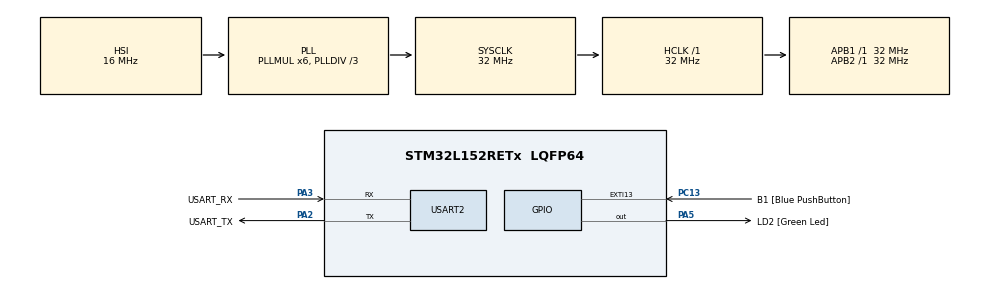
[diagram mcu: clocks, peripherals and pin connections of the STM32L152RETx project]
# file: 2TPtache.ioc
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FREERTOS.Tasks01=defaultTask,0,128,StartDefaultTask,Default,NULL,Dynamic,NULL,NULL
Mcu.Family=STM32L1
Mcu.Name=STM32L152RETx
Mcu.Package=LQFP64
NVIC.PriorityGroup=NVIC_PRIORITYGROUP_4
NVIC.TIM6_IRQn=true\:15\:0\:false\:false\:true\:false\:false\:true\:true
NVIC.TimeBase=TIM6_IRQn
NVIC.TimeBaseIP=TIM6
PA13.GPIO_Label=TMS
PA13.Mode=Serial_Wire
PA13.Signal=SYS_JTMS-SWDIO
PA14.GPIO_Label=TCK
PA14.Mode=Serial_Wire
PA14.Signal=SYS_JTCK-SWCLK
PA2.GPIO_Label=USART_TX
PA2.Mode=Asynchronous
PA2.Signal=USART2_TX
PA3.GPIO_Label=USART_RX
PA3.Mode=Asynchronous
PA3.Signal=USART2_RX
PA5.GPIO_Label=LD2 [Green Led]
PA5.Signal=GPIO_Output
PB3.GPIO_Label=SWO
PB3.Signal=SYS_JTDO-TRACESWO
PC13-WKUP2.GPIO_Label=B1 [Blue PushButton]
PC13-WKUP2.Signal=GPXTI13
PC14-OSC32_IN.Mode=LSE-External-Oscillator
PC14-OSC32_IN.Signal=RCC_OSC32_IN
PC15-OSC32_OUT.Mode=LSE-External-Oscillator
PC15-OSC32_OUT.Signal=RCC_OSC32_OUT
PH0-OSC_IN.Mode=HSE-External-Clock-Source
PH0-OSC_IN.Signal=RCC_OSC_IN
PH1-OSC_OUT.Signal=RCC_OSC_OUT
ProjectManager.HeapSize=0x200
ProjectManager.StackSize=0x400
ProjectManager.TargetToolchain=STM32CubeIDE
RCC.48MHZClocksFreq_Value=48000000
RCC.AHBFreq_Value=32000000
RCC.APB1Freq_Value=32000000
RCC.APB1TimFreq_Value=32000000
RCC.APB2Freq_Value=32000000
RCC.APB2TimFreq_Value=32000000
RCC.HCLKFreq_Value=32000000
RCC.HSE_VALUE=8000000
RCC.HSI_VALUE=16000000
RCC.MSI_VALUE=2097000
RCC.PLLDIV=RCC_PLL_DIV3
RCC.PLLMUL=RCC_PLL_MUL6
RCC.RTCClockSelectionVirtual=RCC_RTCCLKSOURCE_LSE
RCC.SYSCLKFreq_VALUE=32000000
RCC.SYSCLKSource=RCC_SYSCLKSOURCE_PLLCLK
RCC.USBOutput=48000000
RCC.VCOOutputFreq_Value=96000000
USART2.VirtualMode=VM_ASYNC
VP_FREERTOS_VS_CMSIS_V1.Mode=CMSIS_V1
VP_SYS_VS_tim6.Mode=TIM6
board=NUCLEO-L152RE

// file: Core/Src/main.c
/* USER CODE BEGIN Header */
/**
  ******************************************************************************
  * @file           : main.c
  * @brief          : Main program body
  ******************************************************************************
  * @attention
  *
  * <h2><center>&copy; Copyright (c) 2022 STMicroelectronics.
  * All rights reserved.</center></h2>
  *
  * This software component is licensed by ST under BSD 3-Clause license,
  * the "License"; You may not use this file except in compliance with the
  * License. You may obtain a copy of the License at:
  *                        opensource.org/licenses/BSD-3-Clause
  *
  ******************************************************************************
  */
/* USER CODE END Header */
#include "main.h"

/* USER CODE BEGIN Includes */
#include "stdio.h"
#include "freertos.h"
#include "task.h"

/* USER CODE END Includes */

UART_HandleTypeDef huart2;

/* USER CODE BEGIN PV */

TaskHandle_t myTask1Handle = NULL;
TaskHandle_t myTask2Handle = NULL;
uint8_t LED_One = 0;
uint8_t LED_Two = 0;
int compteur = 0;

/* USER CODE END PV */

void SystemClock_Config(void);
static void MX_GPIO_Init(void);
static void MX_USART2_UART_Init(void);

/* USER CODE BEGIN PFP */

void myTask1(void *);
void myTask2(void *);

/* USER CODE END PFP */

/* USER CODE BEGIN 0 */

void myTask1(void *p){
	while(1){
		printf("rentre dans task1 : %d\r\n",compteur++);
		//HAL_Delay(10);
		vTaskDelay(2000);
		LED_One ^=0x1;
	}
}

void myTask2(void *p){
	while(1){
		printf("rentre dans task2 : %d\r\n",compteur++);
		//HAL_Delay(10);
		vTaskDelay(150);
		LED_Two ^=0x1;

	}
}

/* USER CODE END 0 */

int main(void)
{

  /* MCU Configuration--------------------------------------------------------*/

  /* Reset of all peripherals, Initializes the Flash interface and the Systick. */
  HAL_Init();

  /* Configure the system clock */
  SystemClock_Config();

  /* Initialize all configured peripherals */
  MX_GPIO_Init();
  MX_USART2_UART_Init();

  /* Create the thread(s) */
  /* definition and creation of task1 */

  /* USER CODE BEGIN RTOS_THREADS */
  /* add threads, ... */

  xTaskCreate(myTask1, "task1", 200, (void *) NULL, 0, &myTask1Handle);
  xTaskCreate(myTask2, "task2", 200, (void *) NULL, 0, &myTask2Handle);

  /* USER CODE END RTOS_THREADS */

  /* Start scheduler */
  vTaskStartScheduler();

  /* We should never get here as control is now taken by the scheduler */
  /* Infinite loop */
  while (1)
  {

  }
}

void SystemClock_Config(void)
{
  RCC_OscInitTypeDef RCC_OscInitStruct = {0};
  RCC_ClkInitTypeDef RCC_ClkInitStruct = {0};

  /** Configure the main internal regulator output voltage
  */
  __HAL_PWR_VOLTAGESCALING_CONFIG(PWR_REGULATOR_VOLTAGE_SCALE1);
  /** Initializes the RCC Oscillators according to the specified parameters
  * in the RCC_OscInitTypeDef structure.
  */
  RCC_OscInitStruct.OscillatorType = RCC_OSCILLATORTYPE_HSI;
  RCC_OscInitStruct.HSIState = RCC_HSI_ON;
  RCC_OscInitStruct.HSICalibrationValue = RCC_HSICALIBRATION_DEFAULT;
  RCC_OscInitStruct.PLL.PLLState = RCC_PLL_ON;
  RCC_OscInitStruct.PLL.PLLSource = RCC_PLLSOURCE_HSI;
  RCC_OscInitStruct.PLL.PLLMUL = RCC_PLL_MUL6;
  RCC_OscInitStruct.PLL.PLLDIV = RCC_PLL_DIV3;
  if (HAL_RCC_OscConfig(&RCC_OscInitStruct) != HAL_OK)
  {
    Error_Handler();
  }
  /** Initializes the CPU, AHB and APB buses clocks
  */
  RCC_ClkInitStruct.ClockType = RCC_CLOCKTYPE_HCLK|RCC_CLOCKTYPE_SYSCLK
                              |RCC_CLOCKTYPE_PCLK1|RCC_CLOCKTYPE_PCLK2;
  RCC_ClkInitStruct.SYSCLKSource = RCC_SYSCLKSOURCE_PLLCLK;
  RCC_ClkInitStruct.AHBCLKDivider = RCC_SYSCLK_DIV1;
  RCC_ClkInitStruct.APB1CLKDivider = RCC_HCLK_DIV1;
  RCC_ClkInitStruct.APB2CLKDivider = RCC_HCLK_DIV1;

  if (HAL_RCC_ClockConfig(&RCC_ClkInitStruct, FLASH_LATENCY_1) != HAL_OK)
  {
    Error_Handler();
  }
}

static void MX_USART2_UART_Init(void)
{

  huart2.Instance = USART2;
  huart2.Init.BaudRate = 115200;
  huart2.Init.WordLength = UART_WORDLENGTH_8B;
  huart2.Init.StopBits = UART_STOPBITS_1;
  huart2.Init.Parity = UART_PARITY_NONE;
  huart2.Init.Mode = UART_MODE_TX_RX;
  huart2.Init.HwFlowCtl = UART_HWCONTROL_NONE;
  huart2.Init.OverSampling = UART_OVERSAMPLING_16;
  if (HAL_UART_Init(&huart2) != HAL_OK)
  {
    Error_Handler();
  }

}

static void MX_GPIO_Init(void)
{
  GPIO_InitTypeDef GPIO_InitStruct = {0};

  /* GPIO Ports Clock Enable */
  __HAL_RCC_GPIOC_CLK_ENABLE();
  __HAL_RCC_GPIOH_CLK_ENABLE();
  __HAL_RCC_GPIOA_CLK_ENABLE();
  __HAL_RCC_GPIOB_CLK_ENABLE();

  /*Configure GPIO pin Output Level */
  HAL_GPIO_WritePin(LD2_GPIO_Port, LD2_Pin, GPIO_PIN_RESET);

  /*Configure GPIO pin : B1_Pin */
  GPIO_InitStruct.Pin = B1_Pin;
  GPIO_InitStruct.Mode = GPIO_MODE_IT_RISING;
  GPIO_InitStruct.Pull = GPIO_NOPULL;
  HAL_GPIO_Init(B1_GPIO_Port, &GPIO_InitStruct);

  /*Configure GPIO pin : LD2_Pin */
  GPIO_InitStruct.Pin = LD2_Pin;
  GPIO_InitStruct.Mode = GPIO_MODE_OUTPUT_PP;
  GPIO_InitStruct.Pull = GPIO_NOPULL;
  GPIO_InitStruct.Speed = GPIO_SPEED_FREQ_LOW;
  HAL_GPIO_Init(LD2_GPIO_Port, &GPIO_InitStruct);

}

/* USER CODE BEGIN 4 */

int _write(int file,char *ptr,int len){
	(void)file;
	int DataIdx;

	for (DataIdx = 0; DataIdx <len; DataIdx++){
		ITM_SendChar(*ptr++);
	}
	return len;
}

/* USER CODE END 4 */

void HAL_TIM_PeriodElapsedCallback(TIM_HandleTypeDef *htim)
{
  if (htim->Instance == TIM6) {
    HAL_IncTick();
  }
}

void Error_Handler(void)
{
  __disable_irq();
  while (1)
  {
  }
}

/************************ (C) COPYRIGHT STMicroelectronics *****END OF FILE****/
